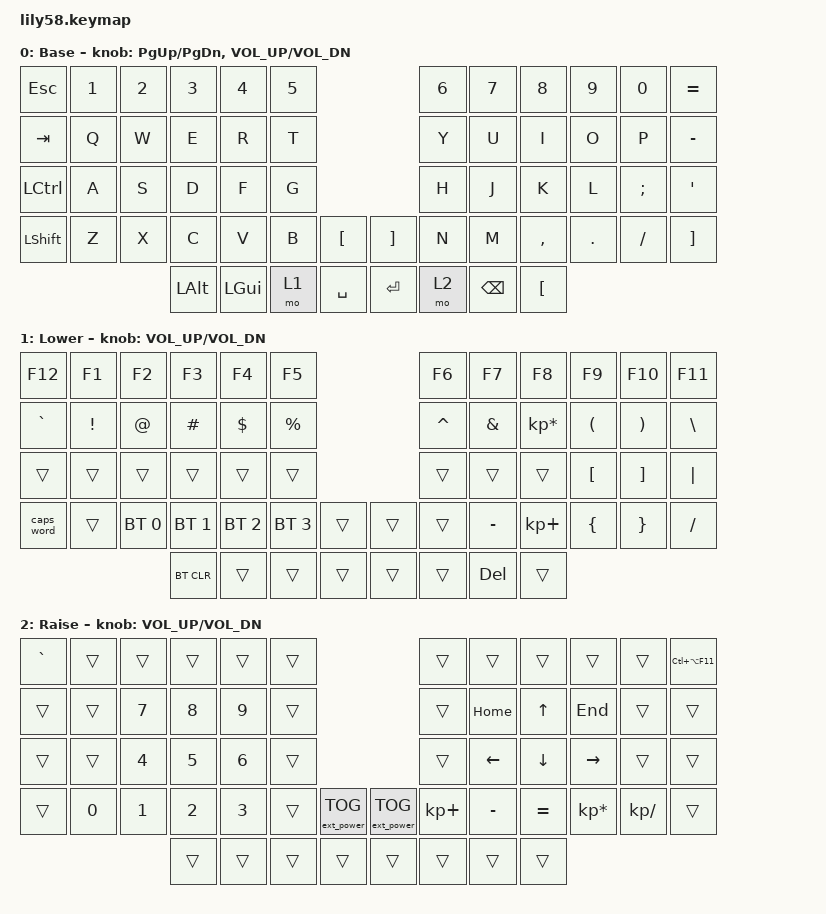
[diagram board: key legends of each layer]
/*
 * Copyright (c) 2020 The ZMK Contributors
 *
 * SPDX-License-Identifier: MIT
 */

#include <behaviors.dtsi>
#include <dt-bindings/zmk/bt.h>
#include <dt-bindings/zmk/ext_power.h>
#include <dt-bindings/zmk/keys.h>

/ {
    keymap {
        compatible = "zmk,keymap";

        default_layer {
            // ------------------------------------------------------------------------------------------------------------
            // |  ESC  |  1  |  2  |  3   |  4   |  5   |                   |  6   |  7    |  8    |  9   |   0   |   `   |
            // |  TAB  |  Q  |  W  |  E   |  R   |  T   |                   |  Y   |  U    |  I    |  O   |   P   |   -   |
            // |  CTRL |  A  |  S  |  D   |  F   |  G   |                   |  H   |  J    |  K    |  L   |   ;   |   '   |
            // | SHIFT |  Z  |  X  |  C   |  V   |  B   |   "["  |  |  "]"  |  N   |  M    |  ,    |  .   |   /   | SHIFT |
            //                     | ALT  | GUI  | LOWER|  SPACE |  | ENTER | RAISE| BSPC  | GUI   |

            label = "Base";
            bindings = <
&kp ESC    &kp N1  &kp N2  &kp N3    &kp N4    &kp N5                         &kp N6  &kp N7    &kp N8     &kp N9   &kp N0    &kp EQUAL
&kp TAB    &kp Q   &kp W   &kp E     &kp R     &kp T                          &kp Y   &kp U     &kp I      &kp O    &kp P     &kp MINUS
&kp LCTRL  &kp A   &kp S   &kp D     &kp F     &kp G                          &kp H   &kp J     &kp K      &kp L    &kp SEMI  &kp SQT
&kp LSHFT  &kp Z   &kp X   &kp C     &kp V     &kp B   &kp LBKT     &kp RBKT  &kp N   &kp M     &kp COMMA  &kp DOT  &kp FSLH  &kp RBKT
                           &kp LALT  &kp LGUI  &mo 1   &kp SPACE    &kp RET   &mo 2   &kp BSPC  &kp LBKT
            >;

            sensor-bindings = <&inc_dec_kp PG_UP PG_DN &inc_dec_kp C_VOL_UP C_VOL_DN>;
        };

        lower_layer {
            // ------------------------------------------------------------------------------------------------------------
            // | BTCLR | BT1 | BT2 |  BT3 |  BT4 |  BT5 |                   |      |       |       |      |       |       |
            // |  F1   |  F2 |  F3 |  F4  |  F5  |  F6  |                   |  F7  |  F8   |  F9   |  F10 |  F11  |  F12  |
            // |   `   |  !  |  @  |  #   |  $   |  %   |                   |  ^   |  &    |  *    |  (   |   )   |   ~   |
            // |       |     |     |      |      |      |        |  |       |      |  _    |  +    |  {   |   }   |  "|"  |
            //                     |      |      |      |        |  |       |      |       |       |

            label = "Lower";
            bindings = <
&kp F12     &kp F1    &kp F2        &kp F3        &kp F4        &kp F5                          &kp F6     &kp F7      &kp F8           &kp F9    &kp F10   &kp F11
&kp GRAVE   &kp EXCL  &kp AT        &kp HASH      &kp DOLLAR    &kp PRCNT                       &kp CARET  &kp AMPS    &kp KP_MULTIPLY  &kp LPAR  &kp RPAR  &kp BACKSLASH
&trans      &trans    &trans        &trans        &trans        &trans                          &trans     &trans      &trans           &kp LBKT  &kp RBKT  &kp PIPE
&caps_word  &trans    &bt BT_SEL 0  &bt BT_SEL 1  &bt BT_SEL 2  &bt BT_SEL 3  &trans    &trans  &trans     &kp MINUS   &kp KP_PLUS      &kp LBRC  &kp RBRC  &kp FSLH
                                    &bt BT_CLR    &trans        &trans        &trans    &trans  &trans     &kp DELETE  &trans
            >;

            sensor-bindings = <&inc_dec_kp C_VOL_UP C_VOL_DN>;
        };

        raise_layer {
            // ------------------------------------------------------------------------------------------------------------
            // |       |     |     |      |      |      |                   |      |       |       |      |       |       |
            // |   `   |  1  |  2  |  3   |  4   |  5   |                   |  6   |   7   |   8   |  9   |   0   |       |
            // |   F1  |  F2 |  F3 |  F4  |  F5  |  F6  |                   |      |   <-  |   v   |  ^   |  ->   |       |
            // |   F7  |  F8 |  F9 |  F10 |  F11 |  F12 |        |  |       |  +   |   -   |   =   |  [   |   ]   |   \   |
            //                     |      |      |      |        |  |       |      |       |       |

            label = "Raise";
            bindings = <
&kp GRAVE  &trans        &trans        &trans        &trans        &trans                                          &trans       &trans     &trans        &trans           &trans         &kp LC(LA(F11))
&trans     &trans        &kp NUMBER_7  &kp NUMBER_8  &kp NUMBER_9  &trans                                          &trans       &kp HOME   &kp UP_ARROW  &kp END          &trans         &trans
&trans     &trans        &kp NUMBER_4  &kp NUMBER_5  &kp NUMBER_6  &trans                                          &trans       &kp LEFT   &kp DOWN      &kp RIGHT        &trans         &trans
&trans     &kp NUMBER_0  &kp NUMBER_1  &kp NUMBER_2  &kp NUMBER_3  &trans  &ext_power EP_TOG    &ext_power EP_TOG  &kp KP_PLUS  &kp MINUS  &kp EQUAL     &kp KP_MULTIPLY  &kp KP_DIVIDE  &trans
                                       &trans        &trans        &trans  &trans               &trans             &trans       &trans     &trans
            >;

            sensor-bindings = <&inc_dec_kp C_VOL_UP C_VOL_DN>;
        };
    };
};
